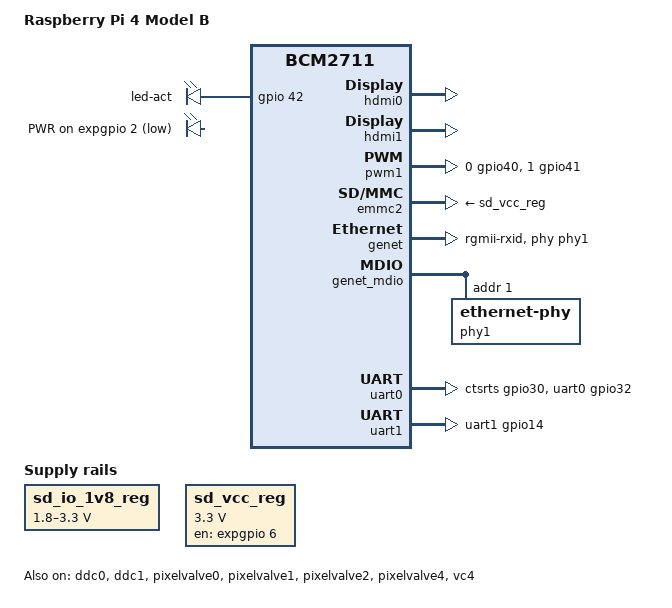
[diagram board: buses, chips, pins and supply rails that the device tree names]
// SPDX-License-Identifier: GPL-2.0
/dts-v1/;
#include "bcm2711.dtsi"
#include "bcm2711-rpi.dtsi"
#include "bcm283x-rpi-usb-peripheral.dtsi"
#include "bcm283x-rpi-wifi-bt.dtsi"

/ {
	compatible = "raspberrypi,4-model-b", "brcm,bcm2711";
	model = "Raspberry Pi 4 Model B";

	chosen {
		/* 8250 auxiliary UART instead of pl011 */
		stdout-path = "serial1:115200n8";
	};

	leds {
		led-act {
			gpios = <&gpio 42 GPIO_ACTIVE_HIGH>;
		};

		led-pwr {
			label = "PWR";
			gpios = <&expgpio 2 GPIO_ACTIVE_LOW>;
			default-state = "keep";
			linux,default-trigger = "default-on";
		};
	};

	sd_io_1v8_reg: sd_io_1v8_reg {
		compatible = "regulator-gpio";
		regulator-name = "vdd-sd-io";
		regulator-min-microvolt = <1800000>;
		regulator-max-microvolt = <3300000>;
		regulator-boot-on;
		regulator-always-on;
		regulator-settling-time-us = <5000>;
		gpios = <&expgpio 4 GPIO_ACTIVE_HIGH>;
		states = <1800000 0x1>,
			 <3300000 0x0>;
		status = "okay";
	};

	sd_vcc_reg: sd_vcc_reg {
		compatible = "regulator-fixed";
		regulator-name = "vcc-sd";
		regulator-min-microvolt = <3300000>;
		regulator-max-microvolt = <3300000>;
		regulator-boot-on;
		enable-active-high;
		gpio = <&expgpio 6 GPIO_ACTIVE_HIGH>;
	};
};

&bt {
	shutdown-gpios = <&expgpio 0 GPIO_ACTIVE_HIGH>;
};

&ddc0 {
	status = "okay";
};

&ddc1 {
	status = "okay";
};

&expgpio {
	gpio-line-names = "BT_ON",		/*  0 */
			  "WL_ON",
			  "PWR_LED_OFF",
			  "GLOBAL_RESET",
			  "VDD_SD_IO_SEL",
			  "CAM_GPIO",		/*  5 */
			  "SD_PWR_ON",
			  "";
};

&gpio {
	/*
	 * Parts taken from rpi_SCH_4b_4p0_reduced.pdf and
	 * the official GPU firmware DT blob.
	 *
	 * Legend:
	 * "FOO" = GPIO line named "FOO" on the schematic
	 * "FOO_N" = GPIO line named "FOO" on schematic, active low
	 */
	gpio-line-names = "ID_SDA",		/*  0 */
			  "ID_SCL",
			  "SDA1",
			  "SCL1",
			  "GPIO_GCLK",
			  "GPIO5",		/*  5 */
			  "GPIO6",
			  "SPI_CE1_N",
			  "SPI_CE0_N",
			  "SPI_MISO",
			  "SPI_MOSI",		/* 10 */
			  "SPI_SCLK",
			  "GPIO12",
			  "GPIO13",
			  /* Serial port */
			  "TXD1",
			  "RXD1",		/* 15 */
			  "GPIO16",
			  "GPIO17",
			  "GPIO18",
			  "GPIO19",
			  "GPIO20",		/* 20 */
			  "GPIO21",
			  "GPIO22",
			  "GPIO23",
			  "GPIO24",
			  "GPIO25",		/* 25 */
			  "GPIO26",
			  "GPIO27",
			  "RGMII_MDIO",
			  "RGMIO_MDC",
			  /* Used by BT module */
			  "CTS0",		/* 30 */
			  "RTS0",
			  "TXD0",
			  "RXD0",
			  /* Used by Wifi */
			  "SD1_CLK",
			  "SD1_CMD",		/* 35 */
			  "SD1_DATA0",
			  "SD1_DATA1",
			  "SD1_DATA2",
			  "SD1_DATA3",
			  /* Shared with SPI flash */
			  "PWM0_MISO",		/* 40 */
			  "PWM1_MOSI",
			  "STATUS_LED_G_CLK",
			  "SPIFLASH_CE_N",
			  "SDA0",
			  "SCL0",		/* 45 */
			  "RGMII_RXCLK",
			  "RGMII_RXCTL",
			  "RGMII_RXD0",
			  "RGMII_RXD1",
			  "RGMII_RXD2",		/* 50 */
			  "RGMII_RXD3",
			  "RGMII_TXCLK",
			  "RGMII_TXCTL",
			  "RGMII_TXD0",
			  "RGMII_TXD1",		/* 55 */
			  "RGMII_TXD2",
			  "RGMII_TXD3";
};

&hdmi0 {
	status = "okay";
};

&hdmi1 {
	status = "okay";
};

&pixelvalve0 {
	status = "okay";
};

&pixelvalve1 {
	status = "okay";
};

&pixelvalve2 {
	status = "okay";
};

&pixelvalve4 {
	status = "okay";
};

&pwm1 {
	pinctrl-names = "default";
	pinctrl-0 = <&pwm1_0_gpio40 &pwm1_1_gpio41>;
	status = "okay";
};

/* EMMC2 is used to drive the SD card */
&emmc2 {
	vqmmc-supply = <&sd_io_1v8_reg>;
	vmmc-supply = <&sd_vcc_reg>;
	broken-cd;
	status = "okay";
};

&genet {
	phy-handle = <&phy1>;
	phy-mode = "rgmii-rxid";
	status = "okay";
};

&genet_mdio {
	phy1: ethernet-phy@1 {
		/* No PHY interrupt */
		reg = <0x1>;
	};
};

&pcie0 {
	pci@0,0 {
		device_type = "pci";
		#address-cells = <3>;
		#size-cells = <2>;
		ranges;

		reg = <0 0 0 0 0>;

		usb@0,0 {
			reg = <0 0 0 0 0>;
			resets = <&reset RASPBERRYPI_FIRMWARE_RESET_ID_USB>;
		};
	};
};

/* uart0 communicates with the BT module */
&uart0 {
	pinctrl-names = "default";
	pinctrl-0 = <&uart0_ctsrts_gpio30 &uart0_gpio32>;
	uart-has-rtscts;
};

/* uart1 is mapped to the pin header */
&uart1 {
	pinctrl-names = "default";
	pinctrl-0 = <&uart1_gpio14>;
	status = "okay";
};

&vc4 {
	status = "okay";
};

&vec {
	status = "disabled";
};

&wifi_pwrseq {
	reset-gpios = <&expgpio 1 GPIO_ACTIVE_LOW>;
};
